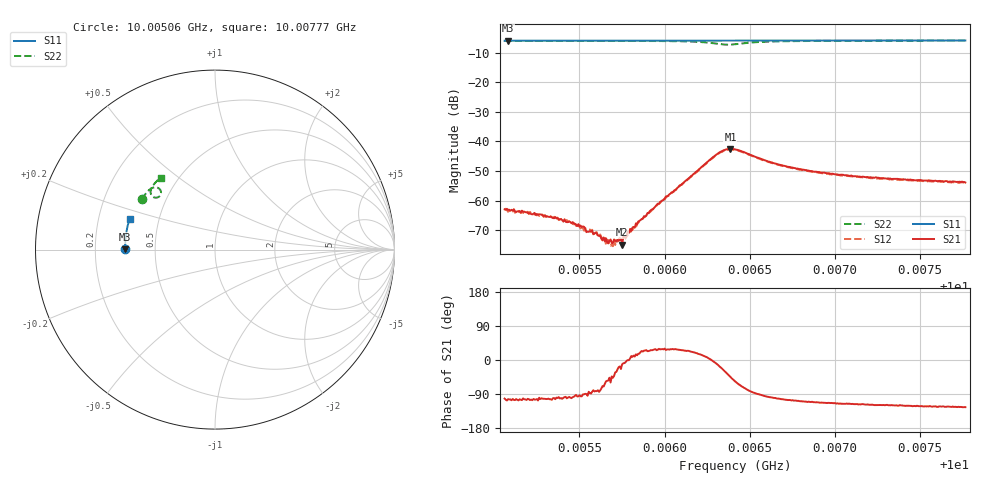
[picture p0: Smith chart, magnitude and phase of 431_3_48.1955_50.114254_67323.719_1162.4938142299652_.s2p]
#  HZ  S  RI  R  50.00
! Rohde & Schwarz Vector Network Analyzer
! Rohde-Schwarz,ZNB20-2Port,1311601062101988,3.16
! Created: UTC 3/20/2024, 11:55:21 AM
! freq[Hz]  re:S11  im:S11  re:S21  im:S21  re:S12  im:S12  re:S22  im:S22
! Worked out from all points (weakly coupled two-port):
!   401 points, 10.00506 GHz to 10.00777 GHz, reference 50 ohm
!   highest |S21| = -42.55 dB at 10.00639 GHz (marker M1); lowest = -74.9 dB at 10.00575 GHz (marker M2)
!   lowest |S11| = -6.0 dB at 10.00508 GHz (marker M3), VSWR 3.00, Z = 16.7 + j0.115 ohm
!   |S11| at or under -10 dB: nowhere
!   |S22| runs from -7.4 to -6.0 dB; largest |S21 - S12| = 0.00046
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1.000506e10  -0.5001 0.00129  -0.000146 -0.000696  -0.000159 -0.000723  -0.4073 0.281
1.0005081e10  -0.5 0.00259  -0.000162 -0.000681  -0.000115 -0.000637  -0.4063 0.2821
1.0005203e10  -0.5003 0.0105  -0.00014 -0.00059  -0.000118 -0.000583  -0.4019 0.2894
1.0005378e10  -0.5001 0.022  -6.66e-05 -0.000479  -7.9e-05 -0.000462  -0.3949 0.2997
1.0005514e10  -0.5 0.0308  -3.64e-05 -0.000357  -2.42e-05 -0.000374  -0.3889 0.3078
1.0005554e10  -0.4999 0.0333  3.17e-05 -0.000296  1.38e-05 -0.000325  -0.3869 0.3103
1.0005608e10  -0.4997 0.0369  4.54e-05 -0.000254  7.47e-05 -0.000234  -0.3843 0.3136
1.0005635e10  -0.4997 0.0388  7.71e-05 -0.000198  7.47e-05 -0.000232  -0.3831 0.3153
1.0005683e10  -0.4995 0.0419  0.000112 -0.00019  0.000121 -0.000122  -0.3806 0.318
1.000575e10  -0.4992 0.0462  0.000177 -3.55e-05  0.000222 -4.74e-05  -0.3769 0.3225
1.0005764e10  -0.4992 0.047  0.00025 -3.6e-05  0.000247 -1.02e-05  -0.3761 0.3233
1.0005784e10  -0.499 0.0484  0.000305 -2.77e-06  0.00026 4.01e-05  -0.375 0.3247
1.0005852e10  -0.4989 0.0526  0.000436 0.000134  0.000412 0.00015  -0.3706 0.3291
1.0005967e10  -0.4982 0.0602  0.000769 0.000434  0.000758 0.000442  -0.3618 0.3366
1.0006291e10  -0.4954 0.0811  0.00559 -0.000531  0.00551 -0.000235  -0.3051 0.3328
1.0006339e10  -0.4949 0.0839  0.00631 -0.00275  0.00629 -0.00235  -0.3011 0.3124
1.0006386e10  -0.4945 0.0867  0.00531 -0.00524  0.00546 -0.00487  -0.3145 0.2933
1.0006413e10  -0.4942 0.0882  0.00408 -0.0061  0.00434 -0.00574  -0.3264 0.2893
1.0006643e10  -0.4926 0.103  -0.000757 -0.00421  -0.00054 -0.00415  -0.3585 0.3287
1.0006866e10  -0.4898 0.1171  -0.00108 -0.00294  -0.00094 -0.00291  -0.3489 0.352
1.0007319e10  -0.4831 0.1456  -0.00115 -0.00205  -0.00103 -0.00203  -0.3259 0.3802
1.0007766e10  -0.4748 0.1732  -0.00114 -0.00167  -0.00105 -0.00173  -0.3031 0.4014
